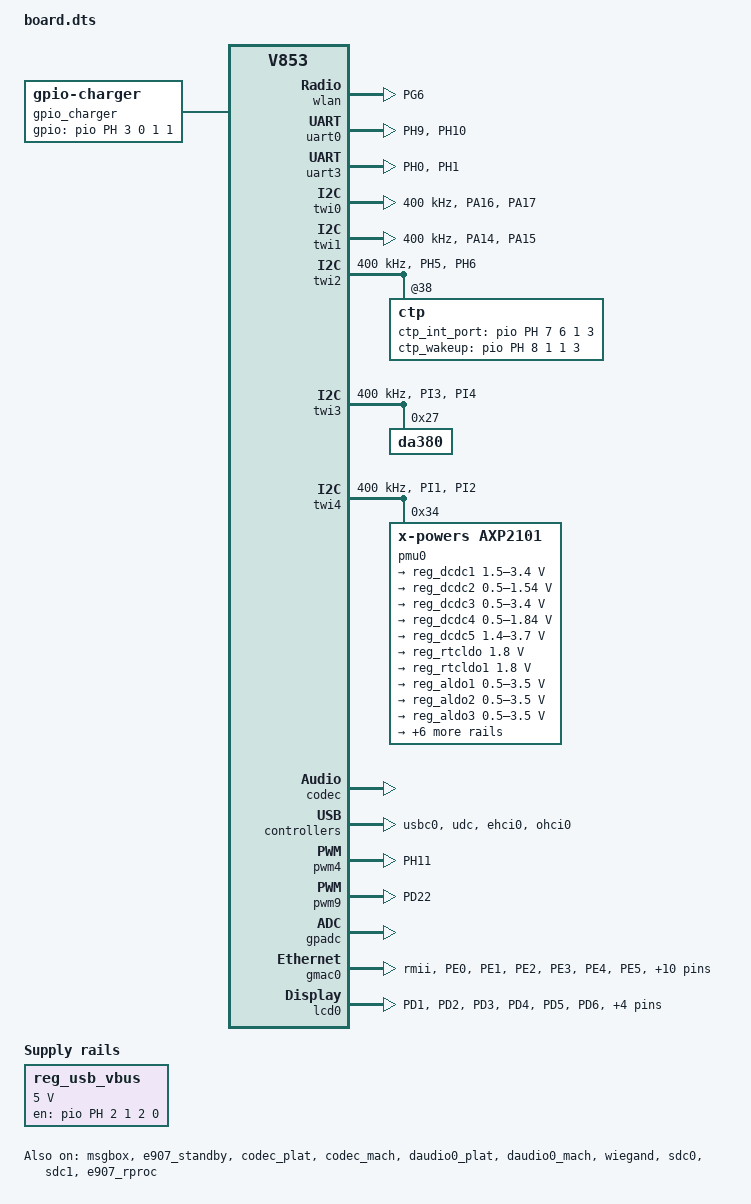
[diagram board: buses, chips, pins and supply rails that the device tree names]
/*
 * Allwinner Technology CO., Ltd. sun8iw21p1 soc board.
 *
 * soc board support.
 */

/dts-v1/;
/* RISCV-E907 used 4MB */

#include "sun8iw21p1.dtsi"

/{
	compatible = "allwinner,sun8iw21p1", "arm,sun8iw21p1", "allwinner,v853";
	reg_usb_vbus: usb-vbus {
		compatible = "regulator-fixed";
		gpio = <&pio PH 2 1 2 0 1>;
		regulator-name = "usb-vbus";
		regulator-min-microvolt = <5000000>;
		regulator-max-microvolt = <5000000>;
		enable-active-high;
	};
	aliases {
		pmu0 = &pmu0;
		standby_param = &standby_param;
	};

	reserved-memory {
		e907_dram: riscv_memserve {
			reg = <0x0 0x48000000 0x0 0x00400000>;
			no-map;
		};

		vdev0buffer: vdev0buffer@47000000 {
			/* 256k reserved for shared mem pool */
			compatible = "shared-dma-pool";
			reg = <0x0 0x47000000 0x0 0x40000>;
			no-map;
		};

		vdev0vring0: vdev0vring0@47040000 {
			reg = <0x0 0x47040000 0x0 0x20000>;
			no-map;
		};

		vdev0vring1: vdev0vring1@47060000 {
			reg = <0x0 0x47060000 0x0 0x20000>;
			no-map;
		};
	};

	rpbuf_controller0: rpbuf_controller@0 {
		compatible = "allwinner,rpbuf-controller";
		remoteproc = <&e907_rproc>;
		ctrl_id = <0>;	/* index of /dev/rpbuf_ctrl */
		iommus = <&mmu_aw 5 1>;
		status = "okay";
	};

	rpbuf_sample: rpbuf_sample@0 {
		compatible = "allwinner,rpbuf-sample";
		rpbuf = <&rpbuf_controller0>;
		status = "okay";
	};

	soc@03000000 {
		wlan: wlan@0 {
			compatible    = "allwinner,sunxi-wlan";
			pinctrl-0 = <&wlan_pins_a>;
			pinctrl-names = "default";
			clock-names = "32k-fanout0";
			clocks        = <&clk_fanout0>;
			wlan_busnum    = <0x1>;
			wlan_power_num = <1>;
			wlan_power1    = "axp2101-dcdc1";
			wlan_io_regulator = "axp2101-dcdc1";
			wlan_power_voltage = <3300000>;
			wlan_io_voltage = <3300000>;
			wlan_regon    = <&pio PH 15 1 0x1 0x2 0>;
			wlan_hostwake = <&pio PG 7 14 0x1 0x2 0>;
			chip_en;
			power_en;
			status        = "okay";
			wakeup-source;
		};
		bt:bt {
			compatible = "allwinner,sunxi-bt";
			clock-names = "32k-fanout0";
			clocks = <&clk_fanout0>;
			/*bt_power_num = <0x01>;*/
			/*bt_power1      = "axp2101-dcdc1";*/
			/*bt_io_regulator = "axp2101-dcdc1";*/
			/*bt_io_voltage = <3300000>;*/
			/*bt_power_voltage = <330000>;*/
			//bt_rst_n = <&pio PE 8 5 1 2 0>;
			status = "disabled";
		};
		btlpm:btlpm {
			compatible = "allwinner,sunxi-btlpm";
			uart_index = <2>;
	//		bt_wake = <&pio PE 15 1 1 2 1>;
	//		bt_hostwake = <&pio PE 14 6 0 0 0>;
			status = "disabled";
		};

		vind0:vind@0 {
			vind0_clk = <340000000>;
			status = "okay";

			csi2:csi@2 {
				pinctrl-names = "default","sleep";
				pinctrl-0 = <&ncsi_pins_a>;
				pinctrl-1 = <&ncsi_pins_b>;
				status = "disabled";
			};
		/*offline mode*/
            tdm0:tdm@0 {
		work_mode = <1>;
	    };

	    isp00:isp@0 {
		work_mode = <1>;
	    };

	    scaler00:scaler@0 {
		work_mode = <1>;
	    };

	    scaler10:scaler@4 {
		work_mode = <1>;
	    };

	    scaler20:scaler@8 {
		work_mode = <1>;
	    };

	    scaler30:scaler@12 {
		work_mode = <1>;
            };

			/*Online mode tp9953 uses online mode*/
/*                         tdm0:tdm@0 {
 *                                 work_mode = <0>;
 *                         };
 *
 *                         isp00:isp@0 {
 *                                 work_mode = <0>;
 *                         };
 *
 *                         scaler00:scaler@0 {
 *                                 work_mode = <0>;
 *                         };
 *
 *                         scaler10:scaler@4 {
 *                                 work_mode = <0>;
 *                         };
 *
 *                         scaler20:scaler@8 {
 *                                 work_mode = <0>;
 *                         };
 *
 *                         scaler30:scaler@12 {
 *                                 work_mode = <0>;
 *                         }; */

			actuator0:actuator@0 {
				device_type = "actuator0";
				actuator0_name = "ad5820_act";
				actuator0_slave = <0x18>;
				actuator0_af_pwdn = <>;
				actuator0_afvdd = "afvcc-csi";
				actuator0_afvdd_vol = <2800000>;
				status = "disabled";
			};

			flash0:flash@0 {
				device_type = "flash0";
				flash0_type = <2>;
				flash0_en = <>;
				flash0_mode = <>;
				flash0_flvdd = "";
				flash0_flvdd_vol = <>;
				status = "disabled";
			};

			sensor0:sensor@0 {
				device_type = "sensor0";
				sensor0_mname = "gc2053_mipi";
				sensor0_twi_cci_id = <1>;
				sensor0_twi_addr = <0x6e>;
				sensor0_mclk_id = <0>;
				sensor0_pos = "rear";
				sensor0_isp_used = <1>;
				sensor0_fmt = <1>;
				sensor0_stby_mode = <0>;
				sensor0_vflip = <0>;
				sensor0_hflip = <0>;
				sensor0_iovdd-supply = <&reg_aldo2>;
				sensor0_iovdd_vol = <1800000>;
				sensor0_avdd-supply = <&reg_bldo2>;
				sensor0_avdd_vol = <2800000>;
				sensor0_dvdd-supply = <&reg_dldo2>;
				sensor0_dvdd_vol = <1200000>;
				sensor0_power_en = <>;
				sensor0_reset = <&pio PA 18 1 0 1 0>;
				sensor0_pwdn = <&pio PA 19 1 0 1 0>;
				sensor0_sm_hs = <>;
				sensor0_sm_vs = <>;
				flash_handle = <&flash0>;
				act_handle = <&actuator0>;
				status	= "okay";
			};

			/* sensor1:sensor@1 {
			 *         device_type = "sensor1";
			 *         sensor1_mname = "tp9953";
			 *         sensor1_twi_cci_id = <0>;
			 *         sensor1_twi_addr = <0x88>;
			 *         sensor1_mclk_id = <2>;
			 *         sensor1_pos = "front";
			 *         sensor1_isp_used = <0>;
			 *         sensor1_fmt = <0>;
			 *         sensor1_stby_mode = <0>;
			 *         sensor1_vflip = <0>;
			 *         sensor1_hflip = <0>;
			 *         sensor1_iovdd-supply = <&reg_aldo2>;
			 *         sensor1_iovdd_vol = <1800000>;
			 *         sensor1_avdd-supply = <>; [><&reg_dcdc1>;<]
			 *         sensor1_avdd_vol = <3300000>;
			 *         sensor1_dvdd-supply = <>;//<&reg_dldo2>;
			 *         sensor1_dvdd_vol = <1200000>;
			 *         sensor1_power_en = <&pio PI 0 1 0 1 0>;
			 *         sensor1_reset = <&pio PH 13 1 0 1 0>;
			 *         sensor1_pwdn  = <>;
			 *         [>sensor1_pwdn = <&pio PE 13 1 0 1 0>;<]
			 *         sensor1_sm_hs = <>;
			 *         sensor1_sm_vs = <>;
			 *         flash_handle = <>;
			 *         act_handle = <>;
			 *         status	= "okay";
			 * }; */

			sensor1:sensor@1 {
			    device_type = "sensor1";
			    sensor1_mname = "gc2053_mipi_2";
			    sensor1_twi_cci_id = <0>;
			    sensor1_twi_addr = <0x7f>;
			    sensor1_mclk_id = <1>;
			    sensor1_pos = "front";
			    sensor1_isp_used = <1>;
			    sensor1_fmt = <1>;
			    sensor1_stby_mode = <0>;
			    sensor1_vflip = <0>;
			    sensor1_hflip = <0>;
			    sensor1_iovdd-supply = <&reg_aldo2>;
			    sensor1_iovdd_vol = <1800000>;
			    sensor1_avdd-supply = <&reg_bldo2>;
			    sensor1_avdd_vol = <2800000>;
			    sensor1_dvdd-supply = <&reg_dldo2>;
			    sensor1_dvdd_vol = <1200000>;
			    sensor1_power_en = <>;
			    sensor1_reset = <&pio PA 20 1 0 1 0>;
			    sensor1_pwdn = <&pio PA 21 1 0 1 0>;
			    sensor1_sm_hs = <>;
			    sensor1_sm_vs = <>;
			    flash_handle = <>;
			    act_handle = <>;
			    status	= "okay";
			};

			vinc00:vinc@0 {
				vinc0_csi_sel = <0>;
				vinc0_mipi_sel = <0>;
				vinc0_isp_sel = <0>;
				vinc0_isp_tx_ch = <0>;
				vinc0_tdm_rx_sel = <0>;
				vinc0_rear_sensor_sel = <0>;
				vinc0_front_sensor_sel = <0>;
				vinc0_sensor_list = <0>;
				work_mode = <0x1>;
				status = "okay";
			};

			vinc01:vinc@1 {
				vinc1_csi_sel = <1>;
				vinc1_mipi_sel = <1>;
				vinc1_isp_sel = <1>;
				vinc1_isp_tx_ch = <0>;
				vinc1_tdm_rx_sel = <1>;
				vinc1_rear_sensor_sel = <1>;
				vinc1_front_sensor_sel = <1>;
				vinc1_sensor_list = <0>;
				status = "okay";
			};

			vinc02:vinc@2 {
				vinc2_csi_sel = <2>;
				vinc2_mipi_sel = <0xff>;
				vinc2_isp_sel = <2>;
				vinc2_isp_tx_ch = <2>;
				vinc2_tdm_rx_sel = <2>;
				vinc2_rear_sensor_sel = <0>;
				vinc2_front_sensor_sel = <0>;
				vinc2_sensor_list = <0>;
				status = "disabled";
			};

			vinc03:vinc@3 {
				vinc3_csi_sel = <0>;
				vinc3_mipi_sel = <0xff>;
				vinc3_isp_sel = <0>;
				vinc3_isp_tx_ch = <0>;
				vinc3_tdm_rx_sel = <0>;
				vinc3_rear_sensor_sel = <1>;
				vinc3_front_sensor_sel = <1>;
				vinc3_sensor_list = <0>;
				status = "disabled";
			};

			vinc10:vinc@4 {
				vinc4_csi_sel = <0>;
				vinc4_mipi_sel = <0x0>;
				vinc4_isp_sel = <0x0>;
				vinc4_isp_tx_ch = <0>;
				vinc4_tdm_rx_sel = <0x0>;
				vinc4_rear_sensor_sel = <0>;
				vinc4_front_sensor_sel = <0>;
				vinc4_sensor_list = <0>;
				work_mode = <0x1>;
				status = "okay";
			};

			vinc11:vinc@5 {
				vinc5_csi_sel = <1>;
				vinc5_mipi_sel = <1>;
				vinc5_isp_sel = <1>;
				vinc5_isp_tx_ch = <0>;
				vinc5_tdm_rx_sel = <1>;
				vinc5_rear_sensor_sel = <1>;
				vinc5_front_sensor_sel = <1>;
				vinc5_sensor_list = <0>;
				status = "okay";
			};

			vinc12:vinc@6 {
				vinc6_csi_sel = <2>;
				vinc6_mipi_sel = <0xff>;
				vinc6_isp_sel = <0>;
				vinc6_isp_tx_ch = <0>;
				vinc6_tdm_rx_sel = <0>;
				vinc6_rear_sensor_sel = <0>;
				vinc6_front_sensor_sel = <0>;
				vinc6_sensor_list = <0>;
				status = "disabled";
			};

			vinc13:vinc@7 {
				vinc7_csi_sel = <2>;
				vinc7_mipi_sel = <0xff>;
				vinc7_isp_sel = <0>;
				vinc7_isp_tx_ch = <0>;
				vinc7_tdm_rx_sel = <0>;
				vinc7_rear_sensor_sel = <0>;
				vinc7_front_sensor_sel = <0>;
				vinc7_sensor_list = <0>;
				status = "disabled";
			};

			vinc20:vinc@8 {
				vinc8_csi_sel = <0>;
				vinc8_mipi_sel = <0x0>;
				vinc8_isp_sel = <0x0>;
				vinc8_isp_tx_ch = <0>;
				vinc8_tdm_rx_sel = <0x0>;
				vinc8_rear_sensor_sel = <0>;
				vinc8_front_sensor_sel = <0>;
				vinc8_sensor_list = <0>;
				work_mode = <0x1>;
				status = "okay";
			};

			vinc21:vinc@9 {
				vinc9_csi_sel = <1>;
				vinc9_mipi_sel = <0x1>;
				vinc9_isp_sel = <1>;
				vinc9_isp_tx_ch = <0>;
				vinc9_tdm_rx_sel = <1>;
				vinc9_rear_sensor_sel = <1>;
				vinc9_front_sensor_sel = <1>;
				vinc9_sensor_list = <0>;
				status = "okay";
			};

			vinc22:vinc@10 {
				vinc10_csi_sel = <2>;
				vinc10_mipi_sel = <0xff>;
				vinc10_isp_sel = <0>;
				vinc10_isp_tx_ch = <0>;
				vinc10_tdm_rx_sel = <0>;
				vinc10_rear_sensor_sel = <0>;
				vinc10_front_sensor_sel = <0>;
				vinc10_sensor_list = <0>;
				status = "disabled";
			};

			vinc23:vinc@11 {
				vinc11_csi_sel = <2>;
				vinc11_mipi_sel = <0xff>;
				vinc11_isp_sel = <0>;
				vinc11_isp_tx_ch = <0>;
				vinc11_tdm_rx_sel = <0>;
				vinc11_rear_sensor_sel = <0>;
				vinc11_front_sensor_sel = <0>;
				vinc11_sensor_list = <0>;
				status = "disabled";
			};

			vinc30:vinc@12 {
				vinc12_csi_sel = <0>;
				vinc12_mipi_sel = <0x0>;
				vinc12_isp_sel = <0>;
				vinc12_isp_tx_ch = <0>;
				vinc12_tdm_rx_sel = <0>;
				vinc12_rear_sensor_sel = <0>;
				vinc12_front_sensor_sel = <0>;
				vinc12_sensor_list = <0>;
				work_mode = <0x1>;
				status = "okay";
			};

			vinc31:vinc@13 {
				vinc13_csi_sel = <1>;
				vinc13_mipi_sel = <0x1>;
				vinc13_isp_sel = <1>;
				vinc13_isp_tx_ch = <0>;
				vinc13_tdm_rx_sel = <1>;
				vinc13_rear_sensor_sel = <1>;
				vinc13_front_sensor_sel = <1>;
				vinc13_sensor_list = <1>;
				status = "okay";
			};

			vinc32:vinc@14 {
				vinc14_csi_sel = <2>;
				vinc14_mipi_sel = <0xff>;
				vinc14_isp_sel = <0>;
				vinc14_isp_tx_ch = <0>;
				vinc14_tdm_rx_sel = <0>;
				vinc14_rear_sensor_sel = <0>;
				vinc14_front_sensor_sel = <0>;
				vinc14_sensor_list = <0>;
				status = "disabled";
			};

			vinc33:vinc@15 {
				vinc15_csi_sel = <2>;
				vinc15_mipi_sel = <0xff>;
				vinc15_isp_sel = <0>;
				vinc15_isp_tx_ch = <0>;
				vinc15_tdm_rx_sel = <0>;
				vinc15_rear_sensor_sel = <0>;
				vinc15_front_sensor_sel = <0>;
				vinc15_sensor_list = <0>;
				status = "disabled";
			};
		};
		standby_param: standby_param {
			vdd-cpu = <0x4>;
			vdd-sys = <0x4>;
			vcc-io = <0x1>;
			vdd-pll = <0x800>;
		};
		gpio_charger: gpio_charger@0 {
			compatible = "gpio-charger";
			gpios = <&pio PH 3 0 1 1 1>;
			charger-type = "usb-sdp";
			status = "okay";
		};
	};

};

&npu {
	clock-frequency = <600000000>;/*0.96V 492M*;  1V  600M */
};
&uart0 {
	pinctrl-names = "default", "sleep";
	pinctrl-0 = <&uart0_pins_active>;
	pinctrl-1 = <&uart0_pins_sleep>;
	uart-supply = <&reg_dcdc1>;
	status = "okay";
};

&uart1 {
	pinctrl-names = "default", "sleep";
	pinctrl-0 = <&uart1_pins_active>;
	pinctrl-1 = <&uart1_pins_sleep>;
	uart-supply = <&reg_dcdc1>;
	status = "disabled";
};

&uart2 {
	pinctrl-names = "default", "sleep";
	pinctrl-0 = <&uart2_pins_active>;
	pinctrl-1 = <&uart2_pins_sleep>;
	uart-supply = <&reg_dcdc1>;
	status = "disabled";
};

&uart3 {
	pinctrl-names = "default", "sleep";
	pinctrl-0 = <&uart3_pins_active>;
	pinctrl-1 = <&uart3_pins_sleep>;
	uart-supply = <&reg_dcdc1>;
	status = "okay";
};

&pio {
        wlan_pins_a: wlan@0 {
                allwinner,pins = "PG6";
                allwinner,function = "fanout0";
                allwinner,muxsel = <3>;
	};

	uart0_pins_active: uart0@0 {
		allwinner,pins = "PH9", "PH10";
		allwinner,function = "uart0";
		allwinner,muxsel = <5>;
		allwinner,drive = <1>;
		allwinner,pull = <1>;
	};

	uart0_pins_sleep: uart0@1 {
		allwinner,pins = "PH9", "PH10";
		allwinner,function = "gpio_in";
		allwinner,muxsel = <0>;
	};

	uart1_pins_active: uart1@0 {
		allwinner,pins = "PG6", "PG7";
		allwinner,function = "uart1";
		allwinner,muxsel = <4>;
		allwinner,drive = <1>;
		allwinner,pull = <1>;
	};

	uart1_pins_sleep: uart1@1 {
		allwinner,pins = "PG6", "PG7";
		allwinner,function = "gpio_in";
		allwinner,muxsel = <0>;
	};

	uart2_pins_active: uart2@0 {
		allwinner,pins = "PE12", "PE13", "PE10", "PE11";
		allwinner,function = "uart2";
		allwinner,muxsel = <6>;
		allwinner,drive = <1>;
		allwinner,pull = <1>;
	};

	uart2_pins_sleep: uart2@1 {
		allwinner,pins = "PE12", "PE13", "PE10", "PE11";
		allwinner,function = "gpio_in";
		allwinner,muxsel = <0>;
	};

	uart3_pins_active: uart3@0 {
		allwinner,pins = "PH0", "PH1";
		allwinner,function = "uart3";
		allwinner,muxsel = <5>;
		allwinner,drive = <1>;
		allwinner,pull = <1>;
	};

	uart3_pins_sleep: uart3@1 {
		allwinner,pins = "PH0", "PH1";
		allwinner,function = "gpio_in";
		allwinner,muxsel = <0>;
	};

	spi0_pins_a: spi0@0 {
		allwinner,pins = "PC0", "PC2", "PC3";
		allwinner,pname = "spi0_sclk", "spi0_mosi", "spi0_miso";
		allwinner,function = "spi0";
		allwinner,muxsel = <4>;
		allwinner,drive = <1>;
		allwinner,pull = <0>;
	};

	spi0_pins_b: spi0@1 {
		allwinner,pins = "PC1", "PC5", "PC4";
		allwinner,pname = "spi0_cs0", "spi0_hold", "spi0_wp";
		allwinner,function = "spi0";
		allwinner,muxsel = <4>;
		allwinner,drive = <1>;
		allwinner,pull = <1>;   // only CS should be pulled up
	};

	spi0_pins_c: spi0@2 {
		allwinner,pins = "PC0", "PC1", "PC2", "PC3", "PC4", "PC5";
		allwinner,function = "io_disabled";
		allwinner,muxsel = <0xf>;
		allwinner,drive = <1>;
		allwinner,pull = <0>;
	};

	spi1_pins_a: spi1@0 {
		allwinner,pins = "PF31", "PF24", "PF29",
					 "PF26", "PF30";
		allwinner,pname = "spi0_sclk", "spi0_mosi",
					 "spi0_miso", "spi0_hold", "spi0_wp";
		allwinner,function = "spi0";
		allwinner,muxsel = <5>;
		allwinner,drive = <1>;
		allwinner,pull = <0>;
	};

	spi1_pins_b: spi1@1 {
		allwinner,pins = "PF25";
		allwinner,pname = "spi0_cs0";
		allwinner,function = "spi0";
		allwinner,muxsel = <5>;
		allwinner,drive = <1>;
		allwinner,pull = <1>;   // only CS should be pulled up
	};

	spi1_pins_c: spi1@2 {
		allwinner,pins = "PF24", "PF25", "PF26", "PF29", "PF30", "PF31";
		allwinner,function = "io_disabled";
		allwinner,muxsel = <0xf>;
		allwinner,drive = <1>;
		allwinner,pull = <0>;
	};

	spif_pins_a: spif0@0 {
		allwinner,pins = "PC0", "PC2", "PC3",
				"PC6", "PC7", "PC8",
				"PC9", "PC10";
		allwinner,pname = "spif_clk", "spif_mosi", "spif_miso",
				"spif_io4", "spif_io5", "spif_io6",
				"spif_io7", "spif_io8";
		allwinner,function = "spif";
		allwinner,muxsel = <2>;
		allwinner,drive = <1>;
		allwinner,pull = <0>;
	};

	spif_pins_b: spif@1 {
		allwinner,pins = "PC1", "PC4", "PC5";
		allwinner,pname = "spif_cs0", "spif_wp", "spif_hold";
		allwinner,function = "spif";
		allwinner,muxsel = <2>;
		allwinner,drive = <1>;
		allwinner,pull = <1>;   // only CS should be pulled up
	};

	spif_pins_c: spif@2 {
		allwinner,pins = "PC0", "PC1", "PC2", "PC3", "PC4",
				"PC5", "PC6", "PC7", "PC8", "PC9", "PC10";
		allwinner,function = "gpio_in";
		allwinner,muxsel = <0xf>;
		allwinner,drive = <1>;
		allwinner,pull = <0>;
	};

	twi0_pins_a: twi0@0 {
		allwinner,pins = "PA16", "PA17";
		allwinner,pname = "twi0_scl", "twi0_sda";
		allwinner,function = "twi0";
		allwinner,muxsel = <4>;
		allwinner,drive = <0>;
		allwinner,pull = <1>;
	};

	twi0_pins_b: twi0@1 {
		allwinner,pins = "PA16", "PA17";
		allwinner,function = "io_disabled";
		allwinner,muxsel = <0xf>;
		allwinner,drive = <0>;
		allwinner,pull = <0>;
	};

	twi1_pins_a: twi1@0 {
		allwinner,pins = "PA14", "PA15";
		allwinner,pname = "twi1_scl", "twi1_sda";
		allwinner,function = "twi1";
		allwinner,muxsel = <4>;
		allwinner,drive = <0>;
		allwinner,pull = <1>;
	};

	twi1_pins_b: twi1@1 {
		allwinner,pins = "PA14", "PA15";
		allwinner,function = "io_disabled";
		allwinner,muxsel = <0xf>;
		allwinner,drive = <0>;
		allwinner,pull = <0>;
	};

	twi2_pins_a: twi2@0 {
		allwinner,pins = "PH5", "PH6";
		allwinner,pname = "twi2_scl", "twi2_sda";
		allwinner,function = "twi2";
		allwinner,muxsel = <4>;
		allwinner,drive = <0>;
		allwinner,pull = <1>;
	};

	twi2_pins_b: twi2@1 {
		allwinner,pins = "PH5", "PH6";
		allwinner,function = "io_disabled";
		allwinner,muxsel = <0xf>;
		allwinner,drive = <0>;
		allwinner,pull = <0>;
	};

	twi3_pins_a: twi3@0 {
		allwinner,pins = "PI3", "PI4";
		allwinner,pname = "twi3_scl", "twi3_sda";
		allwinner,function = "twi3";
		allwinner,muxsel = <6>;
		allwinner,drive = <0>;
		allwinner,pull = <1>;
	};

	twi3_pins_b: twi3@1 {
		allwinner,pins = "PI3", "PI4";
		allwinner,function = "io_disabled";
		allwinner,muxsel = <0xf>;
		allwinner,drive = <0>;
		allwinner,pull = <0>;
	};

	twi4_pins_a: twi4@0 {
		allwinner,pins = "PI1", "PI2";
		allwinner,pname = "twi4_scl", "twi4_sda";
		allwinner,function = "twi4";
		allwinner,muxsel = <6>;
		allwinner,drive = <0>;
		allwinner,pull = <1>;
	};

	twi4_pins_b: twi4@1 {
		allwinner,pins = "PI1", "PI2";
		allwinner,function = "io_disabled";
		allwinner,muxsel = <0xf>;
		allwinner,drive = <0>;
		allwinner,pull = <0>;
	};

	dmic_pins_a: dmic@0 {
		allwinner,pins = "PH0", "PH1", "PH2", "PH3", "PH4";
		allwinner,function = "dmic";
		allwinner,muxsel = <6>;
		allwinner,drive = <1>;
		allwinner,pull = <0>;
	};

	dmic_pins_b: dmic_sleep@0 {
		allwinner,pins = "PH0", "PH1", "PH2", "PH3", "PH4";
		allwinner,function = "io_disabled";
		allwinner,muxsel = <0xf>;
		allwinner,drive = <1>;
		allwinner,pull = <0>;
	};

	daudio0_pins_a: daudio0@0 {
		allwinner,pins = "PH0", "PH1", "PH2", "PH3", "PH4";
		allwinner,function = "i2s0";
		allwinner,muxsel = <3>;
		allwinner,drive = <1>;
		allwinner,pull = <0>;
	};

	daudio0_pins_b: daudio0_sleep@0 {
		allwinner,pins = "PH0", "PH1", "PH2", "PH3", "PH4";
		allwinner,function = "io_disabled";
		allwinner,muxsel = <0xf>;
		allwinner,drive = <1>;
		allwinner,pull = <0>;
	};

	daudio1_pins_a: daudio1@0 {
		allwinner,pins = "PE7", "PE8", "PE9", "PE10", "PE11";
		allwinner,function = "i2s1";
		allwinner,muxsel = <7>;
		allwinner,drive = <1>;
		allwinner,pull = <0>;
	};

	daudio1_pins_b: daudio1_sleep@0 {
		allwinner,pins = "PE7", "PE8", "PE9", "PE10", "PE11";
		allwinner,function = "io_disabled";
		allwinner,muxsel = <0xf>;
		allwinner,drive = <1>;
		allwinner,pull = <0>;
	};

	pwm4_pin_a: pwm4@0 {
		pins = "PH11";
		function = "pwm4";
		muxsel = <8>;
		drive-strength = <10>;
		bias-pull-up;
	};

	pwm4_pin_b: pwm4@1 {
		pins = "PH11";
		function = "gpio_in";
		muxsel = <0>;
	};

	pwm9_pin_a: pwm9@0 {
		pins = "PD22";
		function = "pwm9";
		muxsel = <2>;
		drive-strength = <10>;
		bias-pull-up;
	};

	pwm9_pin_b: pwm9@1 {
		pins = "PD22";
		function = "gpio_in";
		muxsel = <0>;
	};

	wiegand_pins_a: wiegand@0 {
		pins = "PH13", "PH14";
		function = "wiegand";
		muxsel = <7>;
		drive-strength = <10>;
		bias-pull-up;
	};

	wiegand_pins_b: wiegand@1 {
		pins = "PH13", "PH14";
		function = "io_disabled";
		muxsel = <0xf>;
	};

	gmac0_pins_a: gmac0@0 {
		allwinner,pins = "PE0", "PE1", "PE2", "PE3",
				"PE4", "PE5", "PE6", "PE7",
				"PE8", "PE9", "PE10", "PE11",
				"PE12", "PE13", "PE14", "PE15";
		allwinner,function = "rgmii";
		allwinner,drive = <1>;
		allwinner,muxsel = <3>;
		allwinner,pull = <0>;
	};

	gmac0_pins_b: gmac0@1 {
		allwinner,pins = "PE0", "PE1", "PE2", "PE3",
				"PE4", "PE5", "PE6", "PE7",
				"PE8", "PE9", "PE10", "PE11",
				"PE12", "PE13", "PE14", "PE15";
		allwinner,function = "gpio_in";
		allwinner,drive = <0>;
		allwinner,muxsel = <0>;
		allwinner,pull = <0>;
	};

	csi_mclk0_pins_a: csi_mclk0@0 {
		allwinner,pins = "PA12";
		allwinner,pname = "mipi_csi_mclk0";
		allwinner,function = "mipi_csi_mclk0";
		allwinner,muxsel = <4>;
		allwinner,drive = <2>;
		allwinner,pull = <0>;
	};

	csi_mclk0_pins_b: csi_mclk0@1 {
		allwinner,pins = "PA12";
		allwinner,pname = "mipi_csi_mclk0";
		allwinner,function = "io_disabled";
		allwinner,muxsel = <0xf>;
		allwinner,drive = <2>;
		allwinner,pull = <0>;
	};

	csi_mclk1_pins_a: csi_mclk1@0 {
		allwinner,pins = "PA13";
		allwinner,pname = "mipi_csi_mclk1";
		allwinner,function = "mipi_csi_mclk1";
		allwinner,muxsel = <4>;
		allwinner,drive = <2>;
		allwinner,pull = <0>;
	};

	csi_mclk1_pins_b: csi_mclk1@1 {
		allwinner,pins = "PA13";
		allwinner,pname = "mipi_csi_mclk1";
		allwinner,function = "io_disabled";
		allwinner,muxsel = <0xf>;
		allwinner,drive = <2>;
		allwinner,pull = <0>;
	};

	csi_mclk2_pins_a: csi_mclk2@0 {
		allwinner,pins = "PE1";
		allwinner,pname = "ncsi_mclk";
		allwinner,function = "ncsi_mclk";
		allwinner,muxsel = <2>;
		allwinner,drive = <2>;
		allwinner,pull = <0>;
	};

	csi_mclk2_pins_b: csi_mclk2@1 {
		allwinner,pins = "PE1";
		allwinner,pname = "ncsi_mclk";
		allwinner,function = "io_disabled";
		allwinner,muxsel = <0xf>;
		allwinner,drive = <2>;
		allwinner,pull = <0>;
	};
        dsi4lane_pins_a: dsi4lane@0 {
                allwinner,pins = "PD1", "PD2", "PD3", "PD4", "PD5", "PD6", "PD7", "PD9", "PD10", "PD11";
                allwinner,pname = "PD1", "PD2", "PD3", "PD4", "PD5", "PD6", "PD7", "PD9", "PD10", "PD11";
                allwinner,function = "dsi";
                allwinner,muxsel = <5>;
                allwinner,drive = <3>;
                allwinner,pull = <0>;
        };

        dsi4lane_pins_b: dsi4lane@1 {
                allwinner,pins = "PD1", "PD2", "PD3", "PD4", "PD5", "PD6", "PD7", "PD9", "PD10", "PD11";
                allwinner,pname = "PD1", "PD2", "PD3", "PD4", "PD5", "PD6", "PD7", "PD9", "PD10", "DP11";
                allwinner,function = "io_disabled";
                allwinner,muxsel = <0xf>;
                allwinner,drive = <1>;
                allwinner,pull = <0>;
        };
};

&spi0 {
	clock-frequency = <100000000>;
	pinctrl-0 = <&spi0_pins_a &spi0_pins_b>;
	pinctrl-1 = <&spi0_pins_c>;
	spi-supply = <&reg_dcdc3>;
	pinctrl-names = "default", "sleep";
	spi_slave_mode = <0>;
	spi_dbi_enable = <0>;
	spi0_cs_number = <1>;
	status = "disabled";

	spi_board0 {
		device_type = "spi_board0";
		compatible = "spi-nor";
		spi-max-frequency = <0x05F5E100>;
		m25p,fast-read = <1>;
		/*individual_lock;*/
		reg = <0x0>;
		spi-rx-bus-width=<0x04>;
		spi-tx-bus-width=<0x04>;
		status="disabled";
	};

	spi-nand@0 {
		compatible = "spi-nand";
		spi-max-frequency=<0x05F5E100>;
		reg = <0x0>;
		spi-rx-bus-width=<0x04>;
		spi-tx-bus-width=<0x04>;
		status="disabled";
	};
};

&spi1 {
	clock-frequency = <100000000>;
	pinctrl-0 = <&spi1_pins_a &spi1_pins_b>;
	pinctrl-1 = <&spi1_pins_c>;
	pinctrl-names = "default", "sleep";
	spi_slave_mode = <0>;
	spi_dbi_enable = <1>;
	spi1_cs_number = <1>;
	status = "disabled";

	spi_board1@0 {
		device_type = "spi_dbi";
		compatible = "sunxi,spidbi";
		spi-max-frequency = <0x5f5e100>;
		reg = <0x0>;
		spi-rx-bus-width = <0x4>;
		spi-tx-bus-width = <0x4>;
		status = "disabled";
	};
};

&spif0 {
	clock-frequency = <100000000>;
	pinctrl-0 = <&spif_pins_a &spif_pins_b>;
	pinctrl-1 = <&spif_pins_c>;
	pinctrl-names = "default", "sleep";
	//prefetch_read_mode_enabled;	/* choose prefect read mode */
	//dtr_mode_enabled;				/* choose double edge trigger mode */
	//dqs_mode_enabled;				/* choose dqs mode(nand provide clk mode) */
	status = "disabled";

	spif-nor  {
		device_type = "spi_board0";
		compatible = "spi-nor";
		spi-max-frequency = <0x5f5e100>;
		reg = <0x0>;
		spi-rx-bus-width = <0x4>;
		spi-tx-bus-width = <0x4>;
		status = "disabled";
	};
};

&msgbox {
	status = "okay";
};

&e907_standby {
	status = "okay";
};

&twi0 {
	clock-frequency = <400000>;
	pinctrl-0 = <&twi0_pins_a>;
	pinctrl-1 = <&twi0_pins_b>;
	pinctrl-names = "default", "sleep";
	/* For stability and backwards compatibility, we recommend setting ‘twi_drv_used’ to 0  */
	twi_drv_used = <0>;
	twi-supply = <&reg_dcdc1>;
	twi_pkt_interval = <0>;
	status = "okay";
};

&twi1 {
	clock-frequency = <400000>;
	pinctrl-0 = <&twi1_pins_a>;
	pinctrl-1 = <&twi1_pins_b>;
	pinctrl-names = "default", "sleep";
	/* For stability and backwards compatibility, we recommend setting ‘twi_drv_used’ to 0  */
	twi_drv_used = <0>;
	twi-supply = <&reg_dcdc1>;
	twi_pkt_interval = <0>;
	status = "okay";
};

&twi2 {
	clock-frequency = <400000>;
	pinctrl-0 = <&twi2_pins_a>;
	pinctrl-1 = <&twi2_pins_b>;
	pinctrl-names = "default", "sleep";
	/* For stability and backwards compatibility, we recommend setting ‘twi_drv_used’ to 0  */
	twi_drv_used = <0>;
	twi-supply = <&reg_dcdc1>;
	twi_pkt_interval = <0>;
	status = "disabled";
};

&twi3 {
	clock-frequency = <400000>;
	pinctrl-0 = <&twi3_pins_a>;
	pinctrl-1 = <&twi3_pins_b>;
	pinctrl-names = "default", "sleep";
	/* For stability and backwards compatibility, we recommend setting ‘twi_drv_used’ to 0  */
	twi_drv_used = <0>;
	twi-supply = <&reg_aldo1>;
	twi_pkt_interval = <0>;
	status = "okay";
};

&twi4 {
	clock-frequency = <400000>;
	pinctrl-0 = <&twi4_pins_a>;
	pinctrl-1 = <&twi4_pins_b>;
	pinctrl-names = "default", "sleep";
	/* For stability and backwards compatibility, we recommend setting ‘twi_drv_used’ to 0  */
	twi_drv_used = <0>;
	twi-supply = <&reg_aldo1>;
	twi_pkt_interval = <0>;
	no_suspend = <1>;
	status = "okay";
	pmu0: pmu@0 {
		compatible = "x-powers,axp2101";
		reg = <0x34>;
		#address-cells = <1>;
		#size-cells = <0>;
		interrupts = <0 IRQ_TYPE_LEVEL_LOW>;
		interrupt-parent = <&nmi_intc>;
		status = "okay";
		wakeup-source;

		charger0: charger@0{
			compatible = "x-powers,axp2101-power-supply";
			param = <&axp2101_parameter>;
			status = "okay";
			pmu_chg_ic_temp = <0>;
			pmu_battery_cap = <888>;
			pmu_runtime_chgcur = <500>;
			pmu_suspend_chgcur = <1000>;
			pmu_shutdown_chgcur = <1000>;
			pmu_init_chgvol = <4200>;
			pmu_usbpc_cur = <2000>;
			pmu_battery_warning_level1 = <15>;
			pmu_battery_warning_level2 = <5>;
			pmu_chgled_type = <0x0>;

			wakeup_usb_in;
			wakeup_usb_out;
			wakeup_bat_out;
			/* wakeup_bat_in; */
			/* wakeup_bat_charging; */
			/* wakeup_bat_charge_over; */
			/* wakeup_low_warning1; */
			/* wakeup_low_warning2; */
			/* wakeup_bat_untemp_work; */
			/* wakeup_bat_ovtemp_work; */
			/* wakeup_bat_untemp_chg; */
			/* wakeup_bat_ovtemp_chg; */


		};


		powerkey0: powerkey@0 {
			status = "okay";
			compatible = "x-powers,axp2101-pek";
			pmu_powkey_off_time = <6000>;
			pmu_powkey_off_func = <0>;
			pmu_powkey_off_en = <1>;
			pmu_powkey_long_time = <1500>;
			pmu_powkey_on_time = <512>;
			wakeup_rising;
			wakeup_falling;

		};

		regulator0: regulators@0 {
			reg_dcdc1: dcdc1 {
				regulator-name = "axp2101-dcdc1";
				regulator-min-microvolt = <1500000>;
				regulator-max-microvolt = <3400000>;
				regulator-boot-on;
				regulator-always-on;
			};
			reg_dcdc2: dcdc2 {
				regulator-name = "axp2101-dcdc2";
				regulator-min-microvolt = <500000>;
				regulator-max-microvolt = <1540000>;
			};
			reg_dcdc3: dcdc3 {
				regulator-name = "axp2101-dcdc3";
				regulator-min-microvolt = <500000>;
				regulator-max-microvolt = <3400000>;
				regulator-boot-on;
				regulator-always-on;
			};
			reg_dcdc4: dcdc4 {
				regulator-name = "axp2101-dcdc4";
				regulator-min-microvolt = <500000>;
				regulator-max-microvolt = <1840000>;
				regulator-boot-on;
				regulator-always-on;
			};
			reg_dcdc5: dcdc5 {
				regulator-name = "axp2101-dcdc5";
				regulator-min-microvolt = <1400000>;
				regulator-max-microvolt = <3700000>;
			};
			reg_rtcldo: rtcldo {
				/* RTC_LDO is a fixed, always-on regulator */
				regulator-name = "axp2101-rtcldo";
				regulator-min-microvolt = <1800000>;
				regulator-max-microvolt = <1800000>;
				regulator-boot-on;
				regulator-always-on;
			};
			reg_rtcldo1: rtcldo1 {
				regulator-name = "axp2101-rtcldo1";
				regulator-min-microvolt = <1800000>;
				regulator-max-microvolt = <1800000>;
			};
			reg_aldo1: aldo1 {
				regulator-name = "axp2101-aldo1";
				regulator-min-microvolt = <500000>;
				regulator-max-microvolt = <3500000>;
				regulator-boot-on;
				regulator-always-on;
			};
			reg_aldo2: aldo2 {
				regulator-name = "axp2101-aldo2";
				regulator-min-microvolt = <500000>;
				regulator-max-microvolt = <3500000>;
			};
			reg_aldo3: aldo3 {
				regulator-name = "axp2101-aldo3";
				regulator-min-microvolt = <500000>;
				regulator-max-microvolt = <3500000>;
			};
			reg_aldo4: aldo4 {
				regulator-name = "axp2101-aldo4";
				regulator-min-microvolt = <500000>;
				regulator-max-microvolt = <3500000>;
			};
			reg_bldo1: bldo1 {
				regulator-name = "axp2101-bldo1";
				regulator-min-microvolt = <500000>;
				regulator-max-microvolt = <3500000>;
				regulator-boot-on;
				regulator-always-on;
			};
			reg_bldo2: bldo2 {
				regulator-name = "axp2101-bldo2";
				regulator-min-microvolt = <500000>;
				regulator-max-microvolt = <3500000>;
			};
			reg_dldo1: dldo1 {
				regulator-name = "axp2101-dldo1";
				regulator-min-microvolt = <500000>;
				regulator-max-microvolt = <3500000>;
				regulator-boot-on;
				regulator-always-on;
			};
			reg_dldo2: dldo2 {
				regulator-name = "axp2101-dldo2";
				regulator-min-microvolt = <500000>;
				regulator-max-microvolt = <1400000>;
			};
			reg_cpusldo: cpusldo {
				regulator-name = "axp2101-cpusldo";
				regulator-min-microvolt = <500000>;
				regulator-max-microvolt = <1400000>;
			};


		};
		virtual-dcdc1 {
			compatible = "xpower-vregulator,dcdc1";
			dcdc1-supply = <&reg_dcdc1>;
		};
		virtual-dcdc2 {
			compatible = "xpower-vregulator,dcdc2";
			dcdc2-supply = <&reg_dcdc2>;
		};
		virtual-dcdc3 {
			compatible = "xpower-vregulator,dcdc3";
			dcdc3-supply = <&reg_dcdc3>;
		};

		virtual-dcdc4 {
			compatible = "xpower-vregulator,dcdc4";
			dcdc4-supply = <&reg_dcdc4>;
		};
		virtual-dcdc5 {
			compatible = "xpower-vregulator,dcdc5";
			dcdc5-supply = <&reg_dcdc5>;
		};

		virtual-aldo1 {
			compatible = "xpower-vregulator,aldo1";
			aldo1-supply = <&reg_aldo1>;
		};
		virtual-aldo2 {
			compatible = "xpower-vregulator,aldo2";
			aldo2-supply = <&reg_aldo2>;
		};
		virtual-aldo3 {
			compatible = "xpower-vregulator,aldo3";
			aldo3-supply = <&reg_aldo3>;
		};
		virtual-aldo4 {
			compatible = "xpower-vregulator,aldo4";
			aldo4-supply = <&reg_aldo4>;
		};

		virtual-bldo1 {
			compatible = "xpower-vregulator,bldo1";
			bldo1-supply = <&reg_bldo1>;
		};
		virtual-bldo2 {
			compatible = "xpower-vregulator,bldo2";
			bldo2-supply = <&reg_bldo2>;
		};

		virtual-dldo1 {
			compatible = "xpower-vregulator,dldo1";
			dldo1-supply = <&reg_dldo1>;
		};
		virtual-dldo2 {
			compatible = "xpower-vregulator,dldo2";
			dldo2-supply = <&reg_dldo2>;
		};

		axp_gpio0: axp_gpio@0 {
			gpio-controller;
			#size-cells = <0>;
			#gpio-cells = <6>;
			status = "okay";
		};

	};
};

&cpu0 {
	cpu-supply = <&reg_dcdc3>;
	vf_tbl_sel = <0>;
};


/* audio dirver module -> audio codec */
&codec {
	/* external-avcc; */
	/* avcc-supply	= <&reg_aldo1>; */
	avcc-vol	= <1800000>;	/* uv */
	lineout-vol	= <31>;
	mic1gain	= <31>;
	mic2gain	= <31>;
	adcdelaytime	= <0>;
	/* lineout-single; */
	/* mic1-single; */
	/* mic2-single; */
	pa-pin-max	= <1>;		/* set pa */
	pa-pin-0	= <&pio PH 4 1 1 1 1>;
	pa-pin-level-0	= <1>;
	pa-pin-msleep-0	= <0>;
	tx-hub-en;
	rx-sync-en;
	status		= "okay";
};

&codec_plat {
	status		= "okay";
};

&codec_mach {
	status		= "okay";
	soundcard-mach,cpu {
		sound-dai = <&codec_plat>;
	};
	soundcard-mach,codec {
		sound-dai = <&codec>;
	};
};

/* audio dirver module -> DMIC */
&dmic_plat {
	rx-chmap	= <0x76543210>;
	data-vol	= <0xB0>;
	rxdelaytime	= <0>;
	pinctrl-used;
	pinctrl-names	= "default","sleep";
	pinctrl-0	= <&dmic_pins_a>;
	pinctrl-1	= <&dmic_pins_b>;
	rx-sync-en;
	status		= "disabled";
};

&dmic_mach {
	status		= "disabled";
	soundcard-mach,cpu {
		sound-dai = <&dmic_plat>;
		soundcard-mach,pll-fs	= <1>; /* pll freq = 24.576M or 22.5792M * pll-fs */
	};
	soundcard-mach,codec {
	};
};

/* audio dirver module -> I2S/PCM */
&daudio0_plat {
	tdm-num		= <0>;
	tx-pin		= <0>;
	rx-pin		= <0>;
	/* pinctrl-used; */
	/* pinctrl-names= "default","sleep"; */
	/* pinctrl-0	= <&daudio0_pins_a>; */
	/* pinctrl-1	= <&daudio0_pins_b>; */
	tx-hub-en;
	rx-sync-en;
	status		= "okay";
};

&daudio0_mach {
	soundcard-mach,format		= "i2s";
	soundcard-mach,frame-master	= <&daudio0_cpu>;
	soundcard-mach,bitclock-master	= <&daudio0_cpu>;
	/* soundcard-mach,frame-inversion; */
	/* soundcard-mach,bitclock-inversion; */
	soundcard-mach,slot-num		= <2>;
	soundcard-mach,slot-width	= <32>;
	status		= "okay";
	daudio0_cpu: soundcard-mach,cpu {
		sound-dai = <&daudio0_plat>;
		soundcard-mach,pll-fs	= <1>; /* pll freq = 24.576M or 22.5792M * pll-fs */
		soundcard-mach,mclk-fs	= <0>; /* mclk freq = pcm rate * mclk-fs */
	};
	daudio0_codec: soundcard-mach,codec {
	};
};

&daudio1_plat {
	tdm-num		= <1>;
	tx-pin		= <0>;
	rx-pin		= <0>;
	/* pinctrl-used; */
	/* pinctrl-names= "default","sleep"; */
	/* pinctrl-0	= <&daudio1_pins_a>; */
	/* pinctrl-1	= <&daudio1_pins_b>; */
	tx-hub-en;
	rx-sync-en;
	status		= "disabled";
};

&daudio1_mach {
	soundcard-mach,format		= "i2s";
	soundcard-mach,frame-master	= <&daudio1_cpu>;
	soundcard-mach,bitclock-master	= <&daudio1_cpu>;
	/* soundcard-mach,frame-inversion; */
	/* soundcard-mach,bitclock-inversion; */
	soundcard-mach,slot-num		= <2>;
	soundcard-mach,slot-width	= <32>;
	status		= "disabled";
	daudio1_cpu: soundcard-mach,cpu {
		sound-dai = <&daudio1_plat>;
		soundcard-mach,pll-fs	= <1>; /* pll freq = 24.576M or 22.5792M * pll-fs */
		soundcard-mach,mclk-fs	= <0>; /* mclk freq = pcm rate * mclk-fs */
	};
	daudio1_codec: soundcard-mach,codec {
	};
};
/* audio dirver module -> END */

&usbc0 {
	device_type = "usbc0";
	usb_port_type = <0x2>;
	usb_detect_type = <0x1>;
	usb_detect_mode = <0x0>;
	usb_id_gpio     = <&pio PH 14 0 1 0xffffffff 0xffffffff>;
	/*usb_det_vbus_gpio   = <&pio PH 3 0 1 0xffffffff 0xffffffff>;*/
	usb_det_vbus_gpio = "axp_ctrl";
	det_vbus_supply = <&gpio_charger>;
	usb_regulator_io = "nocare";
	usb_wakeup_suspend = <0x0>;
	usb_luns = <0x3>;
	usb_serial_unique = <0x0>;
	usb_serial_number = "20080411";
	status = "okay";
};

&udc {
	det_vbus_supply = <&gpio_charger>;
	status = "okay";
};

&ehci0 {
	drvvbus-supply = <&reg_usb_vbus>;
	status = "okay";
};

&ohci0 {
	drvvbus-supply = <&reg_usb_vbus>;
	status = "okay";
};

&pwm4 {
	pinctrl-names = "active", "sleep";
	pinctrl-0 = <&pwm4_pin_a>;
	pinctrl-1 = <&pwm4_pin_b>;
	status = "okay";
};

&pwm9 {
	pinctrl-names = "active", "sleep";
	pinctrl-0 = <&pwm9_pin_a>;
	pinctrl-1 = <&pwm9_pin_b>;
	status = "okay";
};

&gpadc {
	channel_num = <1>;
	channel_select = <0x01>;
	channel_data_select = <0>;
	channel_compare_select = <0x01>;
	channel_cld_select = <0x01>;
	channel_chd_select = <0>;
	channel0_compare_lowdata = <1700000>;
	channel0_compare_higdata = <1200000>;
	channel1_compare_lowdata = <460000>;
	channel1_compare_higdata = <1200000>;
	key_cnt = <5>;
	key0_vol = <210>;
	key0_val = <115>;
	key1_vol = <410>;
	key1_val = <114>;
	key2_vol = <590>;
	key2_val = <139>;
	key3_vol = <750>;
	key3_val = <28>;
	key4_vol = <880>;
	key4_val = <102>;
	status = "okay";
};

&wiegand {
	protocol-type		= <0>;		/* select protocol-type; 0:26bit, 1:34bit */
	signal-duration		= <110>;	/* duty cycle, range is determined by clock_div */
	signal-period		= <1178>;	/* cycle length, range is determined by clock_div */
	high-parity-polar	= <0x01>;	/* select high parity bit polarity 1:odd parity; 0:even parity */
	low-parity-polar	= <0x00>;	/* select low parity bit polarity 1:odd parity; 0:even parity */
	data-polar		= <0x01>;	/* select the bit polarity 0:normal; 1:inverse */
	clock-div		= <0x18>;	/* set the clock division ratio, range: 0-48 */
	pinctrl-names = "default", "sleep";
	pinctrl-0 = <&wiegand_pins_a>;
	pinctrl-1 = <&wiegand_pins_b>;
	status = "okay";
};

&gmac0{
	phy-mode = "rmii";
	use_ephy25m = <1>;
	pinctrl-0 = <&gmac0_pins_a>;
	pinctrl-1 = <&gmac0_pins_b>;
	pinctrl-names = "default", "sleep";
	tx-delay = <7>;
	rx-delay = <31>;
	status = "okay";
};

&sdc2 {
	non-removable;
	bus-width = <8>;
	mmc-ddr-1_8v;
	mmc-hs200-1_8v;
	mmc-hs400-1_8v;
	no-sdio;
	no-sd;
	ctl-spec-caps = <0x308>;
	cap-mmc-highspeed;
	sunxi-power-save-mode;
	sunxi-dis-signal-vol-sw;
	max-frequency = <100000000>;
	vmmc-supply = <&reg_dcdc1>;
	/*emmc io vol 3.3v*/
	vqmmc-supply = <&reg_bldo1>;
	/*emmc io vol 1.8v*/
	/*vqmmc-supply = <&reg_eldo1>;*/
	status = "disabled";
};

&sdc0 {
	bus-width = <4>;
	cd-gpios = <&pio PF 6 6 1 3 0xffffffff>;
	/*non-removable;*/
	/*broken-cd;*/
	/*cd-inverted*/
	/*data3-detect;*/
	card-pwr-gpios = <&pio PH 12 1 1 2 0xffffffff>;
	cd-used-24M;
	cap-sd-highspeed;
	sd-uhs-sdr50;
	sd-uhs-ddr50;
	sd-uhs-sdr104;
	no-sdio;
	no-mmc;
	sunxi-signal-vol-sw-without-pmu;
	sunxi-power-save-mode;
	/*sunxi-dis-signal-vol-sw;*/
	max-frequency = <150000000>;
	ctl-spec-caps = <0x408>;
	vmmc-supply = <&reg_dcdc1>;
	vqmmc33sw-supply = <&reg_dcdc1>;
	vdmmc33sw-supply = <&reg_dcdc1>;
	vqmmc18sw-supply = <&reg_bldo1>;
	vdmmc18sw-supply = <&reg_bldo1>;
	status = "okay";
};

&sdc1 {
	bus-width = <4>;
	no-mmc;
	no-sd;
	cap-sd-highspeed;
	/*sd-uhs-sdr12*/
	/*sd-uhs-sdr25*/
	/*sd-uhs-sdr50;*/
	/*sd-uhs-ddr50;*/
	/*sd-uhs-sdr104*/
	/*sunxi-power-save-mode;*/
	sunxi-dis-signal-vol-sw;
	cap-sdio-irq;
	keep-power-in-suspend;
	ignore-pm-notify;
	max-frequency = <50000000>;
	ctl-spec-caps = <0x8>;
	status = "okay";
};

&disp {
	disp_init_enable         = <1>;
	disp_mode                = <0>;

	screen0_output_type      = <1>;
	screen0_output_mode      = <4>;

	screen1_output_type      = <3>;
	screen1_output_mode      = <10>;

	screen1_output_format    = <0>;
	screen1_output_bits      = <0>;
	screen1_output_eotf      = <4>;
	screen1_output_cs        = <257>;
	screen1_output_range     = <2>;
	screen1_output_scan      = <0>;
	screen1_output_aspect_ratio = <8>;

	dev0_output_type         = <1>;
	dev0_output_mode         = <4>;
	dev0_screen_id           = <0>;
	dev0_do_hpd              = <0>;

	dev1_output_type         = <4>;
	dev1_output_mode         = <10>;
	dev1_screen_id           = <1>;
	dev1_do_hpd              = <1>;

	def_output_dev           = <0>;

	fb0_format               = <0>;
	fb0_width                = <0>;
	fb0_height               = <0>;

	fb1_format               = <0>;
	fb1_width                = <0>;
	fb1_height               = <0>;
	chn_cfg_mode             = <1>;

	disp_para_zone           = <1>;

};

&lcd0 {
        base_config_start   = <1>;
        lcd_used            = <1>;

        lcd_driver_name     = "tft08006";

        lcd_backlight       = <0>;
        lcd_if              = <4>;

        lcd_x               = <480>;
        lcd_y               = <800>;
        lcd_width           = <52>;
        lcd_height          = <52>;
        lcd_dclk_freq       = <25>;

        lcd_pwm_used        = <1>;
        lcd_pwm_ch          = <9>;
        lcd_pwm_freq        = <5000>;
        lcd_pwm_pol         = <1>;
        lcd_pwm_max_limit   = <255>;

        lcd_hbp             = <10>;
        lcd_ht              = <515>;
        lcd_hspw            = <5>;

        lcd_vbp             = <20>;
        lcd_vt              = <830>;
        lcd_vspw            = <5>;

        lcd_dsi_if          = <0>;
        lcd_dsi_lane        = <2>;
        lcd_dsi_format      = <0>;
        lcd_dsi_te          = <0>;
        lcd_dsi_eotp        = <0>;
        lcd_frm             = <0>;
        lcd_io_phase        = <0x0000>;
        lcd_hv_clk_phase    = <0>;
        lcd_hv_sync_polarity= <0>;
        lcd_gamma_en        = <0>;
        lcd_bright_curve_en = <0>;
        lcd_cmap_en         = <0>;
        lcdgamma4iep        = <22>;

        lcd_gpio_0          = <&pio PH 0 1 0 3 1>;
        pinctrl-0           = <&dsi4lane_pins_a>;
        pinctrl-1           = <&dsi4lane_pins_b>;
        base_config_end     = <1>;

};

&twi3 {
	status = "okay";

	da380 {
		status = "okay";
		compatible = "da380";
		reg = <0x27>;
        /*wakeup-gpios = <&pio PE 20 0 0 1 0>;*/
	};
};

&twi2 {
	status = "okay";
	/* goodix {
	 *         status = "okay";
	 *         compatible = "goodix,gt911";
	 *         reg = <0x5d>;
	 *         int-gpios = <&pio PH 7 0 0 1 0>;
	 *         reset-gpios = <&pio PH 8 0 0 1 0>;
	 *         touchscreen-size-x = <720>;
	 *         touchscreen-size-y = <1280>;
	 * }; */
        ctp@38 {
                status = "okay";
                ctp_used = <1>;
                ctp_name = "ft6336";
                ctp_twi_id = <0x2>;
                ctp_twi_addr = <0x38>;
                ctp_screen_max_x = <0x480>;
                ctp_screen_max_y = <0x800>;
                ctp_revert_x_flag = <0x0>;
                ctp_revert_y_flag = <0x1>;
                ctp_exchange_x_y_flag = <0x0>;
                ctp_int_port = <&pio PH 7 6 1 3 0xffffffff>;
                ctp_wakeup   = <&pio PH 8 1 1 3 0xffffffff>;
        };
	/*ctp@14 {
		compatible = "allwinner,gsl3680";
		device_type = "ctp";
		reg = <0x40>;
		status = "disabled";
		ctp_name = "gslX680_3680";
		ctp_twi_id = <0x2>;
		ctp_twi_addr = <0x40>;
		ctp_screen_max_x = <0x500>;
		ctp_screen_max_y = <0x320>;
		ctp_revert_x_flag = <0x0>;
		ctp_revert_y_flag = <0x1>;
		ctp_exchange_x_y_flag = <0x1>;
		ctp_int_port = <&pio PH 7 6 1 3 0xffffffff>;
		ctp_wakeup   = <&pio PH 8 1 1 3 0xffffffff>;
		//ctp-supply = <&reg_aldo2>;
		ctp_power_ldo = <&reg_dldo1>;
		ctp_power_ldo_vol = <3300>;
	};*/
};

/{
	axp2101_parameter:axp2101-parameter {
		select = "battery-model";

		battery-model {
			parameter = /bits/ 8 <0x01 0xF5 0x00 0x00 0xFB 0x00 0x00 0xFB
				0x00 0x1E 0x32 0x01 0x14 0x04 0xD8 0x04
				0x74 0xFD 0x58 0x0B 0xB3 0x10 0x3F 0xFB
				0xC8 0x00 0xBE 0x03 0x4E 0x06 0x3F 0x06
				0x02 0x0A 0xD3 0x0F 0x74 0x0F 0x31 0x09
				0xE5 0x0E 0xB9 0x0E 0xC0 0x04 0xBE 0x04
				0xBB 0x09 0xB4 0x0E 0xA0 0x0E 0x92 0x09
				0x79 0x0E 0x4C 0x0E 0x27 0x03 0xFC 0x03
				0xD5 0x08 0xBC 0x0D 0x9C 0x0D 0x55 0x06
				0xB8 0x2E 0x24 0x2E 0x2E 0x24 0x2E 0x24
				0xC5 0x98 0x7E 0x66 0x4E 0x44 0x38 0x1A
				0x12 0x0A 0xF6 0x00 0x00 0xF6 0x00 0xF6
				0x00 0xFB 0x00 0x00 0xFB 0x00 0x00 0xFB
				0x00 0x00 0xF6 0x00 0x00 0xF6 0x00 0xF6
				0x00 0xFB 0x00 0x00 0xFB 0x00 0x00 0xFB
				0x00 0x00 0xF6 0x00 0x00 0xF6 0x00 0xF6>;
		};
			  };
};

/ {
	tp9953_detect {
		gpio_power = <&pio PE 13 1 0 1 0>;
		gpio_detect = <&pio PE 14 1 0 1 0>;
		gpio_reverse = <&pio PE 12 1 0 1 GPIO_ACTIVE_LOW>;
	};
};

&e907_rproc {
	memory-region = <&e907_dram>, <&vdev0buffer>,
					<&vdev0vring0>, <&vdev0vring1>;
	memory-mappings =
		/* DA 	         len         PA */
		/* DDR for e907  */
		< 0x48000000 0x00400000 0x48000000 >;

	iommus = <&mmu_aw 5 1>;
	firmware-name = "melis-elf";
	status = "okay";
};
